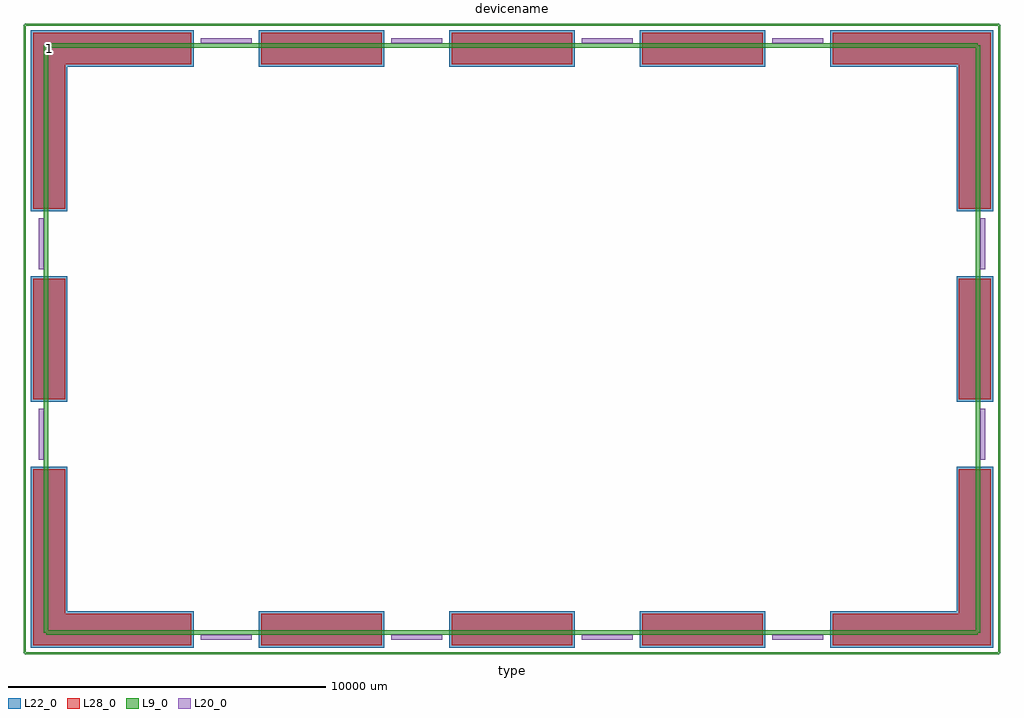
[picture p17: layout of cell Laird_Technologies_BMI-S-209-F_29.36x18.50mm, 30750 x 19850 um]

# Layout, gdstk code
import gdstk
lib = gdstk.Library(unit=1e-6, precision=1e-09)
def R(c, l, rs):  # rectangles x0, y0, x1, y1
    for r in rs: c.add(gdstk.rectangle(r[:2], r[2:], *l))
def A(c, l, x, y, w, h, nx, ny, dx, dy):  # array of equal rectangles
    R(c, l, [(x+i*dx, y+j*dy, x+i*dx+w, y+j*dy+h) for i in range(nx) for j in range(ny)])
L9_0 = (9, 0)
L20_0 = (20, 0)
L22_0 = (22, 0)
L28_0 = (28, 0)

laird_technologies_bmi_s = lib.new_cell('Laird_Technologies_BMI-S-209-F_29.36x18.50mm')
A(laird_technologies_bmi_s, L22_0, -7975, -9725, 3950, 1150, 3, 2, 6000, 18300)
R(laird_technologies_bmi_s, L22_0, [(-15155,-9725,-14005,-8575), (-14155,-9725,-10025,-8575), (10025,-9725,14155,-8575), (14005,-9725,15155,-8575), (-15155,-8725,-14005,-4025), (14005,-8725,15155,-4025), (-15155,-1975,-14005,1975), (14005,-1975,15155,1975), (-15155,4025,-14005,8725), (14005,4025,15155,8725), (-15155,8575,-14005,9725), (-14155,8575,-10025,9725), (10025,8575,14155,9725), (14005,8575,15155,9725)])
A(laird_technologies_bmi_s, L28_0, -7900, -9650, 3800, 1000, 3, 2, 6000, 18300)
R(laird_technologies_bmi_s, L28_0, [(-15080,-9650,-14080,-8650), (-14080,-9650,-10100,-8650), (10100,-9650,14080,-8650), (14080,-9650,15080,-8650), (-15080,-8650,-14080,-4100), (14080,-8650,15080,-4100), (-15080,-1900,-14080,1900), (14080,-1900,15080,1900), (-15080,4100,-14080,8650), (14080,4100,15080,8650), (-15080,8650,-14080,9650), (-14080,8650,-10100,9650), (10100,8650,14080,9650), (14080,8650,15080,9650)])
laird_technologies_bmi_s.add(gdstk.FlexPath([(14830,-2200),(14830,-3800)], 149.998, ends="flush", simple_path=True, layer=20, datatype=0))  # L20_0
laird_technologies_bmi_s.add(gdstk.FlexPath([(-14830,-2200),(-14830,-3800)], 149.998, ends="flush", simple_path=True, layer=20, datatype=0))  # L20_0
laird_technologies_bmi_s.add(gdstk.FlexPath([(14830,3800),(14830,2200)], 149.998, ends="flush", simple_path=True, layer=20, datatype=0))  # L20_0
laird_technologies_bmi_s.add(gdstk.FlexPath([(-14830,3800),(-14830,2200)], 149.998, ends="flush", simple_path=True, layer=20, datatype=0))  # L20_0
laird_technologies_bmi_s.add(gdstk.FlexPath([(8200,-9400),(9800,-9400)], 149.998, ends="flush", simple_path=True, layer=20, datatype=0))  # L20_0
laird_technologies_bmi_s.add(gdstk.FlexPath([(8200,9400),(9800,9400)], 149.998, ends="flush", simple_path=True, layer=20, datatype=0))  # L20_0
laird_technologies_bmi_s.add(gdstk.FlexPath([(2200,-9400),(3800,-9400)], 149.998, ends="flush", simple_path=True, layer=20, datatype=0))  # L20_0
laird_technologies_bmi_s.add(gdstk.FlexPath([(2200,9400),(3800,9400)], 149.998, ends="flush", simple_path=True, layer=20, datatype=0))  # L20_0
laird_technologies_bmi_s.add(gdstk.FlexPath([(-3800,-9400),(-2200,-9400)], 149.998, ends="flush", simple_path=True, layer=20, datatype=0))  # L20_0
laird_technologies_bmi_s.add(gdstk.FlexPath([(-3800,9400),(-2200,9400)], 149.998, ends="flush", simple_path=True, layer=20, datatype=0))  # L20_0
laird_technologies_bmi_s.add(gdstk.FlexPath([(-9800,-9400),(-8200,-9400)], 149.998, ends="flush", simple_path=True, layer=20, datatype=0))  # L20_0
laird_technologies_bmi_s.add(gdstk.FlexPath([(-9800,9400),(-8200,9400)], 149.998, ends="flush", simple_path=True, layer=20, datatype=0))  # L20_0
laird_technologies_bmi_s.add(gdstk.FlexPath([(14680,9250),(-14680,9250)], 149.998, ends="flush", simple_path=True, layer=9, datatype=0))  # L9_0
laird_technologies_bmi_s.add(gdstk.FlexPath([(14680,-9250),(14680,9250)], 149.998, ends="flush", simple_path=True, layer=9, datatype=0))  # L9_0
laird_technologies_bmi_s.add(gdstk.FlexPath([(-14680,-9250),(14680,-9250)], 149.998, ends="flush", simple_path=True, layer=9, datatype=0))  # L9_0
laird_technologies_bmi_s.add(gdstk.FlexPath([(-14680,9250),(-14680,-9250)], 149.998, ends="flush", simple_path=True, layer=9, datatype=0))  # L9_0
laird_technologies_bmi_s.add(gdstk.FlexPath([(15350,9900),(-15350,9900)], 50, ends="flush", simple_path=True, layer=9, datatype=0))  # L9_0
laird_technologies_bmi_s.add(gdstk.FlexPath([(15350,-9900),(15350,9900)], 50, ends="flush", simple_path=True, layer=9, datatype=0))  # L9_0
laird_technologies_bmi_s.add(gdstk.FlexPath([(-15350,-9900),(15350,-9900)], 50, ends="flush", simple_path=True, layer=9, datatype=0))  # L9_0
laird_technologies_bmi_s.add(gdstk.FlexPath([(-15350,9900),(-15350,-9900)], 50, ends="flush", simple_path=True, layer=9, datatype=0))  # L9_0
laird_technologies_bmi_s.add(gdstk.Label('1', (-14580,9150), layer=28, texttype=0))
laird_technologies_bmi_s.add(gdstk.Label('type', (0,-10650), layer=9, texttype=0))
laird_technologies_bmi_s.add(gdstk.Label('devicename', (0,10650), layer=9, texttype=0))

lib.write_gds('Laird_Technologies_BMI-S-209-F_29.36x18.50mm.gds')
